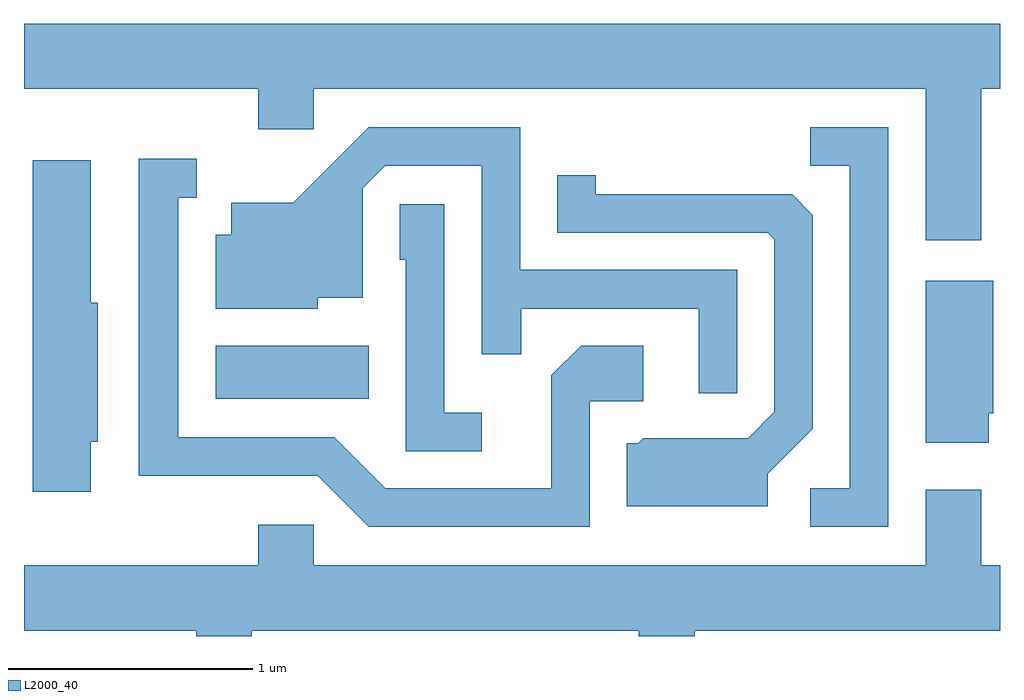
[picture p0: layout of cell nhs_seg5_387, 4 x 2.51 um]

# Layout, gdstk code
import gdstk
lib = gdstk.Library(unit=1e-6, precision=1e-09)
def R(c, l, rs):  # rectangles x0, y0, x1, y1
    for r in rs: c.add(gdstk.rectangle(r[:2], r[2:], *l))
def P(c, l, *ps):  # polygons
    for p in ps: c.add(gdstk.Polygon(p, *l))
L2000_40 = (2000, 40)

nhs_seg5_387 = lib.new_cell('nhs_seg5_387')
R(nhs_seg5_387, L2000_40, [(196.396,1491.046,197.024,1491.264)])
P(nhs_seg5_387, L2000_40, [(199.534,1492.316),(199.611,1492.316),(199.611,1492.584),(195.611,1492.584),(195.611,1492.316),(196.571,1492.316),(196.571,1492.151),(196.799,1492.151),(196.799,1492.316),(199.306,1492.316),(199.306,1491.696),(199.534,1491.696)],
  [(199.154,1492.159),(198.833,1492.159),(198.833,1492.001),(198.996,1492.001),(198.996,1490.679),(198.833,1490.679),(198.833,1490.521),(199.154,1490.521)],
  [(198.534,1491.574),(197.644,1491.574),(197.644,1492.159),(197.024,1492.159),(196.714,1491.849),(196.461,1491.849),(196.461,1491.719),(196.396,1491.719),(196.396,1491.416),(196.814,1491.416),(196.814,1491.461),(196.999,1491.461),(196.999,1491.909),(197.092,1492.001),(197.486,1492.001),(197.486,1491.228),(197.649,1491.228),(197.649,1491.416),(198.376,1491.416),(198.376,1491.068),(198.534,1491.068)],
  [(197.929,1491.036),(198.149,1491.036),(198.149,1491.264),(197.894,1491.264),(197.771,1491.142),(197.771,1490.679),(197.092,1490.679),(196.882,1490.889),(196.244,1490.889),(196.244,1491.871),(196.318,1491.871),(196.318,1492.029),(196.081,1492.029),(196.081,1490.731),(196.814,1490.731),(197.024,1490.521),(197.929,1490.521)],
  [(195.884,1490.871),(195.914,1490.871),(195.914,1491.439),(195.884,1491.439),(195.884,1492.024),(195.646,1492.024),(195.646,1490.666),(195.884,1490.666)],
  [(198.659,1490.739),(198.844,1490.924),(198.844,1491.799),(198.759,1491.884),(197.954,1491.884),(197.954,1491.963),(197.796,1491.963),(197.796,1491.726),(198.659,1491.726),(198.686,1491.699),(198.686,1490.992),(198.579,1490.884),(198.149,1490.884),(198.129,1490.864),(198.081,1490.864),(198.081,1490.606),(198.659,1490.606)],
  [(197.488,1490.989),(197.334,1490.989),(197.334,1491.844),(197.151,1491.844),(197.151,1491.616),(197.176,1491.616),(197.176,1490.831),(197.488,1490.831)],
  [(199.564,1490.986),(199.584,1490.986),(199.584,1491.529),(199.306,1491.529),(199.306,1490.866),(199.564,1490.866)],
  [(196.544,1490.096),(198.131,1490.096),(198.131,1490.072),(198.359,1490.072),(198.359,1490.096),(199.611,1490.096),(199.611,1490.364),(199.534,1490.364),(199.534,1490.674),(199.306,1490.674),(199.306,1490.364),(196.799,1490.364),(196.799,1490.529),(196.571,1490.529),(196.571,1490.364),(195.611,1490.364),(195.611,1490.096),(196.316,1490.096),(196.316,1490.072),(196.544,1490.072)])

lib.write_gds('nhs_seg5_387.gds')
